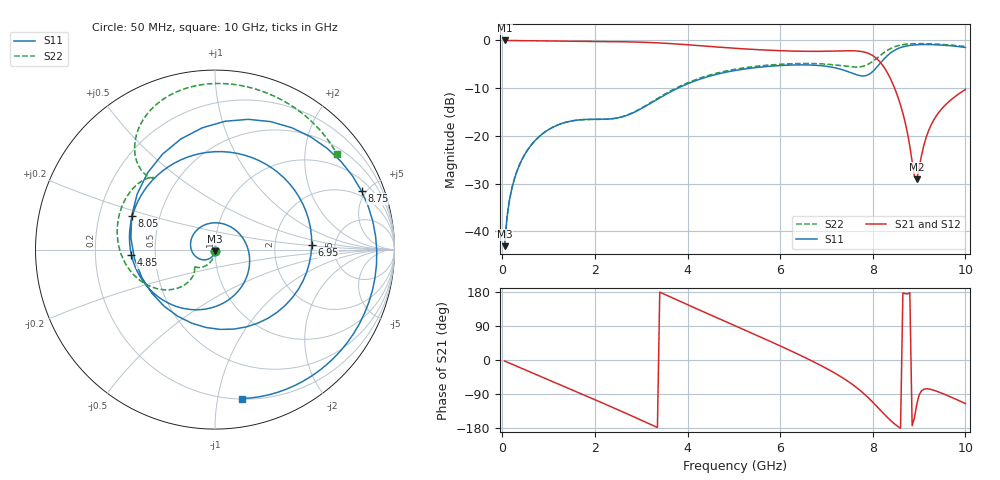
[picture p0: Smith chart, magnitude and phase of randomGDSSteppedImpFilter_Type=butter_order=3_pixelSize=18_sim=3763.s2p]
! freq	dB(S11)	phase(S11)	dB(S12)	phase(S12)
!  dB(S21)	phase(S21)	dB(S22)	phase(S22)
!S-par simulation data
#  GHz  S  DB  R 50
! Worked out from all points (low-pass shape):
!   200 points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, 50 MHz to 10 GHz, reference 50 ohm
!   highest |S21| = 0.00 dB at 50 MHz (marker M1); lowest = -29.1 dB at 8.95 GHz (marker M2)
!   |S21| within 3 dB of the highest: start of sweep to 7.967 GHz
!   lowest |S11| = -43.1 dB at 50 MHz (marker M3), VSWR 1.01, Z = 50 - j0.697 ohm
!   |S11| at or under -10 dB: start of sweep to 3.792 GHz
!   |S22| runs from -43.1 to -0.7 dB; largest |S21 - S12| = 0
!   S11 on the Smith chart (normalised r, x): 50 MHz: 1.00, -0.01; 4.85 GHz: 0.36, -0.03; 6.95 GHz: 3.32, +0.23; 8.05 GHz: 0.34, +0.17; 8.75 GHz: 1.62, +4.65; 10 GHz: 0.20, -1.18
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0.05  -43.13 -92.3  -0.00 -2.7  -0.00 -2.7  -43.10 -90.6
0.2  -31.29 -103.7  -0.02 -10.6  -0.02 -10.6  -31.26 -96.8
0.5  -23.67 -125.5  -0.05 -26.3  -0.05 -26.3  -23.64 -108.0
1.15  -17.92 -173.4  -0.14 -60.2  -0.14 -60.2  -17.91 -128.6
1.75  -16.59 136.2  -0.20 -91.5  -0.20 -91.5  -16.60 -140.8
2.7  -15.68 28.3  -0.29 -142.3  -0.29 -142.3  -15.63 -133.7
3.4  -12.03 -51.9  -0.53 179.1  -0.53 179.1  -11.88 -130.5
4.15  -8.52 -119.8  -1.01 137.8  -1.01 137.8  -8.31 -145.2
4.85  -6.62 -176.4  -1.53 99.9  -1.53 99.9  -6.37 -164.3
5.05  -6.26 167.7  -1.66 89.1  -1.66 89.1  -6.01 -169.8
5.95  -5.29 94.2  -2.13 40.0  -2.13 40.0  -5.03 165.7
6.7  -5.17 27.5  -2.29 -3.3  -2.29 -3.3  -4.85 146.1
6.95  -5.36 2.6  -2.27 -19.0  -2.27 -19.0  -4.95 140.0
7.3  -6.02 -38.2  -2.19 -43.3  -2.19 -43.3  -5.27 132.9
7.6  -7.02 -86.3  -2.18 -68.0  -2.18 -68.0  -5.57 130.5
7.8  -7.45 -132.0  -2.40 -87.9  -2.40 -87.9  -5.38 131.8
8.05  -6.01 158.1  -3.53 -117.6  -3.53 -117.6  -4.03 132.4
8.35  -2.89 85.5  -7.39 -155.5  -7.39 -155.5  -1.88 121.5
8.75  -1.12 21.8  -19.47 174.7  -19.47 174.7  -0.76 98.5
8.95  -0.90 -0.4  -29.08 -117.3  -29.08 -117.3  -0.67 87.9
9.3  -0.89 -31.1  -16.97 -79.2  -16.97 -79.2  -0.74 70.8
10  -1.48 -79.6  -10.28 -114.9  -10.28 -114.9  -1.27 38.3
